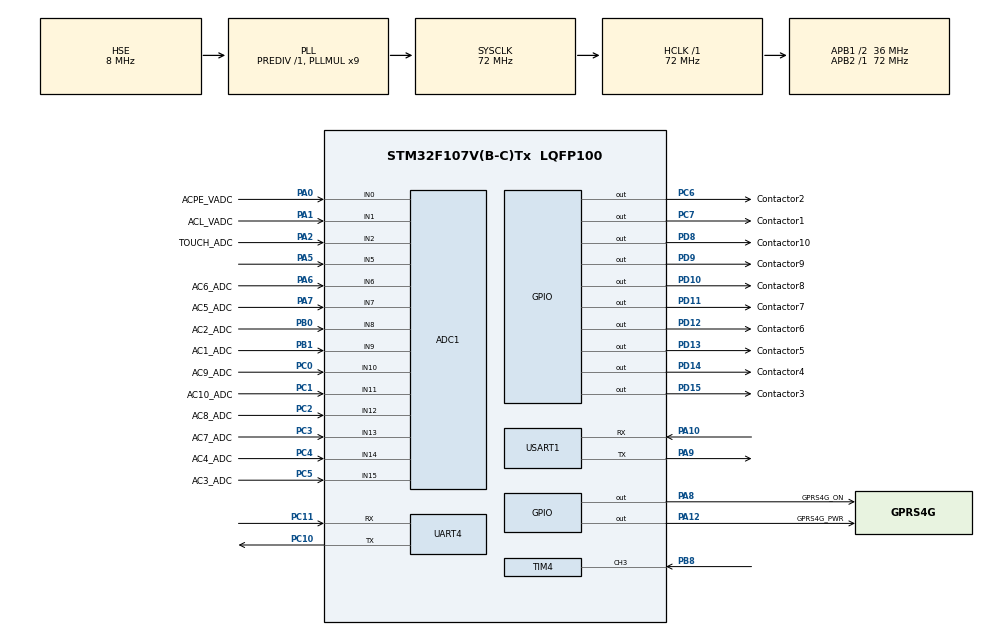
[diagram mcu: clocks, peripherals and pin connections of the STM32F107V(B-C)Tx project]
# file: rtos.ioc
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ADC1.Channel-0\#ChannelRegularConversion=ADC_CHANNEL_0
ADC1.Channel-1\#ChannelRegularConversion=ADC_CHANNEL_1
ADC1.Channel-10\#ChannelRegularConversion=ADC_CHANNEL_13
ADC1.Channel-11\#ChannelRegularConversion=ADC_CHANNEL_14
ADC1.Channel-12\#ChannelRegularConversion=ADC_CHANNEL_15
ADC1.Channel-15\#ChannelRegularConversion=ADC_CHANNEL_5
ADC1.Channel-2\#ChannelRegularConversion=ADC_CHANNEL_2
ADC1.Channel-3\#ChannelRegularConversion=ADC_CHANNEL_6
ADC1.Channel-4\#ChannelRegularConversion=ADC_CHANNEL_7
ADC1.Channel-5\#ChannelRegularConversion=ADC_CHANNEL_8
ADC1.Channel-6\#ChannelRegularConversion=ADC_CHANNEL_9
ADC1.Channel-7\#ChannelRegularConversion=ADC_CHANNEL_10
ADC1.Channel-8\#ChannelRegularConversion=ADC_CHANNEL_11
ADC1.Channel-9\#ChannelRegularConversion=ADC_CHANNEL_12
ADC1.ContinuousConvMode=ENABLE
ADC1.DataAlign=ADC_DATAALIGN_RIGHT
ADC1.DiscontinuousConvMode=DISABLE
ADC1.EnableAnalogWatchDog=false
ADC1.EnableRegularConversion=ENABLE
ADC1.ExternalTrigConv=ADC_EXTERNALTRIGCONV_T1_CC1
ADC1.InjNumberOfConversion=0
ADC1.NbrOfConversion=14
ADC1.NbrOfConversionFlag=1
ADC1.Rank-0\#ChannelRegularConversion=1
ADC1.Rank-1\#ChannelRegularConversion=2
ADC1.Rank-10\#ChannelRegularConversion=11
ADC1.Rank-11\#ChannelRegularConversion=12
ADC1.Rank-12\#ChannelRegularConversion=13
ADC1.Rank-15\#ChannelRegularConversion=14
ADC1.Rank-2\#ChannelRegularConversion=3
ADC1.Rank-3\#ChannelRegularConversion=4
ADC1.Rank-4\#ChannelRegularConversion=5
ADC1.Rank-5\#ChannelRegularConversion=6
ADC1.Rank-6\#ChannelRegularConversion=7
ADC1.Rank-7\#ChannelRegularConversion=8
ADC1.Rank-8\#ChannelRegularConversion=9
ADC1.Rank-9\#ChannelRegularConversion=10
ADC1.SamplingTime-0\#ChannelRegularConversion=ADC_SAMPLETIME_1CYCLE_5
ADC1.SamplingTime-1\#ChannelRegularConversion=ADC_SAMPLETIME_1CYCLE_5
ADC1.SamplingTime-10\#ChannelRegularConversion=ADC_SAMPLETIME_1CYCLE_5
ADC1.SamplingTime-11\#ChannelRegularConversion=ADC_SAMPLETIME_1CYCLE_5
ADC1.SamplingTime-12\#ChannelRegularConversion=ADC_SAMPLETIME_1CYCLE_5
ADC1.SamplingTime-15\#ChannelRegularConversion=ADC_SAMPLETIME_1CYCLE_5
ADC1.SamplingTime-2\#ChannelRegularConversion=ADC_SAMPLETIME_1CYCLE_5
ADC1.SamplingTime-3\#ChannelRegularConversion=ADC_SAMPLETIME_1CYCLE_5
ADC1.SamplingTime-4\#ChannelRegularConversion=ADC_SAMPLETIME_1CYCLE_5
ADC1.SamplingTime-5\#ChannelRegularConversion=ADC_SAMPLETIME_1CYCLE_5
ADC1.SamplingTime-6\#ChannelRegularConversion=ADC_SAMPLETIME_1CYCLE_5
ADC1.SamplingTime-7\#ChannelRegularConversion=ADC_SAMPLETIME_1CYCLE_5
ADC1.SamplingTime-8\#ChannelRegularConversion=ADC_SAMPLETIME_1CYCLE_5
ADC1.SamplingTime-9\#ChannelRegularConversion=ADC_SAMPLETIME_1CYCLE_5
ADC1.ScanConvMode=ADC_SCAN_ENABLE
ADC1.master=1
Dma.ADC1.0.Direction=DMA_PERIPH_TO_MEMORY
Dma.ADC1.0.Instance=DMA1_Channel1
Dma.ADC1.0.MemDataAlignment=DMA_MDATAALIGN_HALFWORD
Dma.ADC1.0.MemInc=DMA_MINC_ENABLE
Dma.ADC1.0.Mode=DMA_CIRCULAR
Dma.ADC1.0.PeriphDataAlignment=DMA_PDATAALIGN_HALFWORD
Dma.ADC1.0.PeriphInc=DMA_PINC_DISABLE
Dma.ADC1.0.Priority=DMA_PRIORITY_LOW
Dma.Request0=ADC1
FREERTOS.Tasks01=defaultTask,0,128,StartDefaultTask,Default,NULL
Mcu.Family=STM32F1
Mcu.Name=STM32F107V(B-C)Tx
Mcu.Package=LQFP100
Mcu.UserConstants=ADC_NUMBER,14
NVIC.DMA1_Channel1_IRQn=true\:5\:0\:false\:false\:true\:true\:false
NVIC.PriorityGroup=NVIC_PRIORITYGROUP_4
NVIC.TIM1_CC_IRQn=true\:0\:0\:true\:false\:true\:false\:true
NVIC.TIM4_IRQn=true\:5\:0\:false\:false\:true\:true\:true
NVIC.UART4_IRQn=true\:15\:0\:true\:false\:true\:true\:true
NVIC.USART1_IRQn=true\:5\:0\:true\:false\:true\:true\:true
OSC_IN.Mode=HSE-External-Oscillator
OSC_IN.Signal=RCC_OSC_IN
OSC_OUT.Mode=HSE-External-Oscillator
OSC_OUT.Signal=RCC_OSC_OUT
PA0-WKUP.GPIO_Label=ACPE_VADC
PA0-WKUP.Signal=ADCx_IN0
PA1.GPIO_Label=ACL_VADC
PA1.Signal=ADCx_IN1
PA10.Mode=Asynchronous
PA10.Signal=USART1_RX
PA12.GPIO_Label=GPRS4G_PWR
PA12.Signal=GPIO_Output
PA13.Mode=JTAG_4_pins
PA13.Signal=SYS_JTMS-SWDIO
PA14.Mode=JTAG_4_pins
PA14.Signal=SYS_JTCK-SWCLK
PA15.Mode=JTAG_4_pins
PA15.Signal=SYS_JTDI
PA2.GPIO_Label=TOUCH_ADC
PA2.Signal=ADCx_IN2
PA5.Signal=ADCx_IN5
PA6.GPIO_Label=AC6_ADC
PA6.Signal=ADCx_IN6
PA7.GPIO_Label=AC5_ADC
PA7.Signal=ADCx_IN7
PA8.GPIO_Label=GPRS4G_ON
PA8.PinState=GPIO_PIN_SET
PA8.Signal=GPIO_Output
PA9.Mode=Asynchronous
PA9.Signal=USART1_TX
PB0.GPIO_Label=AC2_ADC
PB0.Signal=ADCx_IN8
PB1.GPIO_Label=AC1_ADC
PB1.Signal=ADCx_IN9
PB3.Mode=JTAG_4_pins
PB3.Signal=SYS_JTDO
PB8.Signal=S_TIM4_CH3
PC0.GPIO_Label=AC9_ADC
PC0.Signal=ADCx_IN10
PC1.GPIO_Label=AC10_ADC
PC1.Signal=ADCx_IN11
PC10.GPIO_Mode=GPIO_MODE_AF_PP
PC10.GPIO_Speed=GPIO_SPEED_FREQ_HIGH
PC10.Mode=Asynchronous
PC10.Signal=UART4_TX
PC11.GPIO_Mode=GPIO_MODE_INPUT
PC11.GPIO_PuPd=GPIO_NOPULL
PC11.Mode=Asynchronous
PC11.Signal=UART4_RX
PC14-OSC32_IN.Mode=LSE-External-Oscillator
PC14-OSC32_IN.Signal=RCC_OSC32_IN
PC15-OSC32_OUT.Mode=LSE-External-Oscillator
PC15-OSC32_OUT.Signal=RCC_OSC32_OUT
PC2.GPIO_Label=AC8_ADC
PC2.Signal=ADCx_IN12
PC3.GPIO_Label=AC7_ADC
PC3.Signal=ADCx_IN13
PC4.GPIO_Label=AC4_ADC
PC4.Signal=ADCx_IN14
PC5.GPIO_Label=AC3_ADC
PC5.Signal=ADCx_IN15
PC6.GPIO_Label=Contactor2
PC6.Signal=GPIO_Output
PC7.GPIO_Label=Contactor1
PC7.Signal=GPIO_Output
PD10.GPIO_Label=Contactor8
PD10.Signal=GPIO_Output
PD11.GPIO_Label=Contactor7
PD11.Signal=GPIO_Output
PD12.GPIO_Label=Contactor6
PD12.Signal=GPIO_Output
PD13.GPIO_Label=Contactor5
PD13.Signal=GPIO_Output
PD14.GPIO_Label=Contactor4
PD14.Signal=GPIO_Output
PD15.GPIO_Label=Contactor3
PD15.Signal=GPIO_Output
PD8.GPIO_Label=Contactor10
PD8.Signal=GPIO_Output
PD9.GPIO_Label=Contactor9
PD9.Signal=GPIO_Output
ProjectManager.HeapSize=0x200
ProjectManager.StackSize=0x400
ProjectManager.TargetToolchain=MDK-ARM V5
RCC.ADCPresc=RCC_ADCPCLK2_DIV6
RCC.AHBFreq_Value=72000000
RCC.APB1CLKDivider=RCC_HCLK_DIV2
RCC.APB1Freq_Value=36000000
RCC.APB1TimFreq_Value=72000000
RCC.APB2Freq_Value=72000000
RCC.APB2TimFreq_Value=72000000
RCC.HCLKFreq_Value=72000000
RCC.PLLMUL=RCC_PLL_MUL9
RCC.PLLSourceVirtual=RCC_PLLSOURCE_HSE
RCC.RTCClockSelection=RCC_RTCCLKSOURCE_LSE
RCC.SYSCLKFreq_VALUE=72000000
RCC.SYSCLKSource=RCC_SYSCLKSOURCE_PLLCLK
RCC.USBFreq_Value=48000000
SH.ADCx_IN0.0=ADC1_IN0,IN0
SH.ADCx_IN1.0=ADC1_IN1,IN1
SH.ADCx_IN10.0=ADC1_IN10,IN10
SH.ADCx_IN11.0=ADC1_IN11,IN11
SH.ADCx_IN12.0=ADC1_IN12,IN12
SH.ADCx_IN13.0=ADC1_IN13,IN13
SH.ADCx_IN14.0=ADC1_IN14,IN14
SH.ADCx_IN15.0=ADC1_IN15,IN15
SH.ADCx_IN2.0=ADC1_IN2,IN2
SH.ADCx_IN5.0=ADC1_IN5,IN5
SH.ADCx_IN6.0=ADC1_IN6,IN6
SH.ADCx_IN7.0=ADC1_IN7,IN7
SH.ADCx_IN8.0=ADC1_IN8,IN8
SH.ADCx_IN9.0=ADC1_IN9,IN9
SH.S_TIM4_CH3.0=TIM4_CH3,Input_Capture3_from_TI3
TIM1.AutoReloadPreload=TIM_AUTORELOAD_PRELOAD_ENABLE
TIM1.Channel-PWM\ Generation1\ No\ Output=TIM_CHANNEL_1
TIM1.Period=500
TIM1.Prescaler=7
TIM1.Pulse-PWM\ Generation1\ No\ Output=250
TIM1.TIM_MasterOutputTrigger=TIM_TRGO_RESET
TIM4.AutoReloadPreload=TIM_AUTORELOAD_PRELOAD_ENABLE
TIM4.Channel-Input_Capture3_from_TI3=TIM_CHANNEL_3
TIM4.ICPolarity_CH3=TIM_INPUTCHANNELPOLARITY_FALLING
TIM4.Period=0xffff
TIM4.Prescaler=71
TIM4.TIM_MasterOutputTrigger=TIM_TRGO_RESET
TIM4.TIM_MasterSlaveMode=TIM_MASTERSLAVEMODE_DISABLE
UART4.VirtualMode=Asynchronous
USART1.VirtualMode=VM_ASYNC
VP_FREERTOS_VS_ENABLE.Mode=Enabled
VP_RTC_VS_RTC_Activate.Mode=RTC_Enabled
VP_TIM1_VS_ClockSourceINT.Mode=Internal
VP_TIM1_VS_no_output1.Mode=PWM Generation1 No Output
VP_TIM4_VS_ClockSourceINT.Mode=Internal
board=custom

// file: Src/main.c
/**
  ******************************************************************************
  * @file           : main.c
  * @brief          : Main program body
  ******************************************************************************
  * This notice applies to any and all portions of this file
  * that are not between comment pairs USER CODE BEGIN and
  * USER CODE END. Other portions of this file, whether
  * inserted by the user or by software development tools
  * are owned by their respective copyright owners.
  *
  * Copyright (c) 2018 STMicroelectronics International N.V.
  * All rights reserved.
  *
  * Redistribution and use in source and binary forms, with or without
  * modification, are permitted, provided that the following conditions are met:
  *
  * 1. Redistribution of source code must retain the above copyright notice,
  *    this list of conditions and the following disclaimer.
  * 2. Redistributions in binary form must reproduce the above copyright notice,
  *    this list of conditions and the following disclaimer in the documentation
  *    and/or other materials provided with the distribution.
  * 3. Neither the name of STMicroelectronics nor the names of other
  *    contributors to this software may be used to endorse or promote products
  *    derived from this software without specific written permission.
  * 4. This software, including modifications and/or derivative works of this
  *    software, must execute solely and exclusively on microcontroller or
  *    microprocessor devices manufactured by or for STMicroelectronics.
  * 5. Redistribution and use of this software other than as permitted under
  *    this license is void and will automatically terminate your rights under
  *    this license.
  *
  * THIS SOFTWARE IS PROVIDED BY STMICROELECTRONICS AND CONTRIBUTORS "AS IS"
  * AND ANY EXPRESS, IMPLIED OR STATUTORY WARRANTIES, INCLUDING, BUT NOT
  * LIMITED TO, THE IMPLIED WARRANTIES OF MERCHANTABILITY, FITNESS FOR A
  * PARTICULAR PURPOSE AND NON-INFRINGEMENT OF THIRD PARTY INTELLECTUAL PROPERTY
  * RIGHTS ARE DISCLAIMED TO THE FULLEST EXTENT PERMITTED BY LAW. IN NO EVENT
  * SHALL STMICROELECTRONICS OR CONTRIBUTORS BE LIABLE FOR ANY DIRECT, INDIRECT,
  * INCIDENTAL, SPECIAL, EXEMPLARY, OR CONSEQUENTIAL DAMAGES (INCLUDING, BUT NOT
  * LIMITED TO, PROCUREMENT OF SUBSTITUTE GOODS OR SERVICES; LOSS OF USE, DATA,
  * OR PROFITS; OR BUSINESS INTERRUPTION) HOWEVER CAUSED AND ON ANY THEORY OF
  * LIABILITY, WHETHER IN CONTRACT, STRICT LIABILITY, OR TORT (INCLUDING
  * NEGLIGENCE OR OTHERWISE) ARISING IN ANY WAY OUT OF THE USE OF THIS SOFTWARE,
  * EVEN IF ADVISED OF THE POSSIBILITY OF SUCH DAMAGE.
  *
  ******************************************************************************
  */
#include "main.h"
#include "stm32f1xx_hal.h"
#include "cmsis_os.h"
#include "adc.h"
#include "dma.h"
#include "rtc.h"
#include "tim.h"
#include "usart.h"
#include "gpio.h"

/* USER CODE BEGIN Includes */
#include "debug.h"
#include "stdint.h"
#include "gprs.h"
/* USER CODE END Includes */

/* USER CODE BEGIN PV */
/* Private variables ---------------------------------------------------------*/
static osThreadId defThreadId = NULL;
static osTimerId defTimerId = NULL;
static osMutexId defMutexId = NULL;
static osPoolId defPoolId = NULL;
static osMessageQId defMessageQId = NULL;
extern UART_HandleTypeDef huart4;
/* USER CODE END PV */

void SystemClock_Config(void);
void MX_FREERTOS_Init(void);

/* USER CODE BEGIN PFP */
/* Private function prototypes -----------------------------------------------*/
uint8_t tx_msg[512];

static void defTimerProc(void const *argument)
{
	static uint32_t i = 0;
	osStatus status;
	uint32_t *p = NULL;
	i ++;
	p = (uint32_t *)osPoolAlloc(defPoolId);
	if(p){
		*p = i;
		status = osMessagePut(defMessageQId, (uint32_t)p, 100);
		if(status == osOK){
			//sprintf(tx_msg, "put message %x\t%u\t%u\r\n", p, *p, osKernelSysTick());

			//RTT_LOG(APP_DEBUG"put message %x\t%u\t%u\r\n", p, *p, osKernelSysTick());
		}else{
			osPoolFree(defPoolId, p);
		}

	}else{
		//RTT_LOG(APP_DEBUG"alloc memory failed\r\n");
	}
}

 struct {
	uint8_t sw_no;
	uint8_t status;
 }rsw;
 static void relay_check()
{
	 if(rsw.sw_no){
		 switch(rsw.sw_no)
		 {
	 		case 1:
				HAL_GPIO_WritePin(Contactor1_GPIO_Port, Contactor1_Pin, rsw.status);
				break;
			case 2:
				HAL_GPIO_WritePin(Contactor2_GPIO_Port, Contactor2_Pin, rsw.status);
				break;
			case 3:
				HAL_GPIO_WritePin(Contactor3_GPIO_Port, Contactor3_Pin, rsw.status);
				break;

			 case 4:
			 	HAL_GPIO_WritePin(Contactor4_GPIO_Port, Contactor4_Pin, rsw.status);
				 break;
			 case 5:
			 	HAL_GPIO_WritePin(Contactor5_GPIO_Port, Contactor5_Pin, rsw.status);
				 break;
			 case 6:
			 	HAL_GPIO_WritePin(Contactor6_GPIO_Port, Contactor6_Pin, rsw.status);
				 break;

			 case 7:
			 	HAL_GPIO_WritePin(Contactor7_GPIO_Port, Contactor7_Pin, rsw.status);
				 break;
			 case 8:
			 	HAL_GPIO_WritePin(Contactor8_GPIO_Port, Contactor8_Pin, rsw.status);
				 break;
			 case 9:
			 	HAL_GPIO_WritePin(Contactor9_GPIO_Port, Contactor9_Pin, rsw.status);
				 break;
			case 10:
				HAL_GPIO_WritePin(Contactor10_GPIO_Port, Contactor10_Pin, rsw.status);
				break;
		 }

		 rsw.status = 0;
		 rsw.sw_no = 0;
	 }
 }
extern uint16_t mem[28];
static void defTaskThread(void const *argument)
{
	static uint32_t waitMS = 30;
	uint16_t len;
	uint32_t waitingCount = 0;
	osEvent event;
	uint8_t srv1_ip[4] = {116, 85, 12, 46};
	uint8_t srv2_ip[4] = {116, 85, 12, 46};
	//uint8_t srv2_ip[4] = {172, 18, 252, 187};
	osTimerDef(defTimer, defTimerProc);
	osMutexDef(defMutex);
	osPoolDef(defPool, 10, sizeof(uint32_t));
	osMessageQDef(defMessageQ, 10, sizeof(uint32_t));
	M26_init(&huart1);
	osDelay(1000);

	HAL_TIM_Base_Start(&htim1);
	osDelay(1000);
	HAL_TIM_IC_Start_IT(&htim4, TIM_CHANNEL_3);
	HAL_ADC_Start(&hadc1);
	HAL_ADC_Start_DMA(&hadc1, (uint32_t *)mem, 14);

	M26_reset();
	M26_socket(0, TCP, 0, 0);
	M26_connect(0, srv1_ip, 6789);
	M26_socket(1, TCP, 0, 0);
	M26_connect(1, srv2_ip, 6789);
	osDelay(1000);

  defTimerId = osTimerCreate(osTimer(defTimer), osTimerPeriodic, NULL);
	defMutexId = osMutexCreate(osMutex(defMutex));
	defPoolId = osPoolCreate(osPool(defPool));
	defMessageQId = osMessageCreate(osMessageQ(defMessageQ), NULL);
	osTimerStart(defTimerId, 2000);
	for(;;){
		relay_check();

		event = osMessageGet(defMessageQId, 0xffff);
		waitingCount = osMessageWaiting(defMessageQId);
		if(event.status == osEventMessage){
			osPoolFree(defPoolId, event.value.p);
			sprintf(tx_msg, "%s", "i am sn0\r\n");
			M26_send(0, tx_msg, strlen(tx_msg));
			osDelay(50);
			sprintf(tx_msg, "%s", "i am sn1\r\n");
			M26_send(1, tx_msg, strlen(tx_msg));
			osDelay(50);
			if((len = M26_recv(0, tx_msg, 512)) > 0){
				RTT_LOG(APP_WARNING"sn0 %s", tx_msg);
			}
			osDelay(50);
			if((len = M26_recv(1, tx_msg, 512)) > 0){
				RTT_LOG(APP_NOTICE"sn1 %s", tx_msg);
			}
			//RTT_LOG(APP_INFO"get message %x\t%u waiting:%u\r\n", event.value.p, *(uint32_t *)event.value.p, waitingCount);
			if(waitingCount == 5){
				osDelay(100);
				//M26_ioctl(IO_GET_CSQ, NULL);
				M26_ioctl(IO_GET_STATUS, NULL);
			}
			if(waitingCount > 5){
				waitMS = 1000;
			}else{
				waitMS = 5000;
			}
		}
		osDelay(waitMS);
		osThreadYield();
	}
}

/* USER CODE END PFP */

int main(void)
{

  /* MCU Configuration----------------------------------------------------------*/

  /* Reset of all peripherals, Initializes the Flash interface and the Systick. */
  HAL_Init();

  /* Configure the system clock */
  SystemClock_Config();

  /* USER CODE BEGIN SysInit */
#ifdef RTT_DEBUG
	SEGGER_RTT_Init();
#endif
  /* USER CODE END SysInit */

  /* Initialize all configured peripherals */
  MX_GPIO_Init();
  MX_DMA_Init();
  MX_RTC_Init();
  MX_UART4_Init();
  MX_USART1_UART_Init();
  MX_ADC1_Init();
  MX_TIM1_Init();
  MX_TIM4_Init();
  /* USER CODE BEGIN 2 */
	RTT_LOG(APP_DEBUG"start\r\n");
  osThreadDef(defTask, defTaskThread, 0, 0, 128);
  defThreadId = osThreadCreate(osThread(defTask), NULL);

  /* USER CODE END 2 */

  /* Call init function for freertos objects (in freertos.c) */
  MX_FREERTOS_Init();

  /* Start scheduler */
  osKernelStart();

  /* We should never get here as control is now taken by the scheduler */

  /* Infinite loop */
  while (1)
  {

  }

}

void SystemClock_Config(void)
{

  RCC_OscInitTypeDef RCC_OscInitStruct;
  RCC_ClkInitTypeDef RCC_ClkInitStruct;
  RCC_PeriphCLKInitTypeDef PeriphClkInit;

    /**Initializes the CPU, AHB and APB busses clocks
    */
  RCC_OscInitStruct.OscillatorType = RCC_OSCILLATORTYPE_HSE|RCC_OSCILLATORTYPE_LSE;
  RCC_OscInitStruct.HSEState = RCC_HSE_ON;
  RCC_OscInitStruct.HSEPredivValue = RCC_HSE_PREDIV_DIV1;
  RCC_OscInitStruct.LSEState = RCC_LSE_ON;
  RCC_OscInitStruct.HSIState = RCC_HSI_ON;
  RCC_OscInitStruct.Prediv1Source = RCC_PREDIV1_SOURCE_HSE;
  RCC_OscInitStruct.PLL.PLLState = RCC_PLL_ON;
  RCC_OscInitStruct.PLL.PLLSource = RCC_PLLSOURCE_HSE;
  RCC_OscInitStruct.PLL.PLLMUL = RCC_PLL_MUL9;
  RCC_OscInitStruct.PLL2.PLL2State = RCC_PLL_NONE;
  if (HAL_RCC_OscConfig(&RCC_OscInitStruct) != HAL_OK)
  {
    _Error_Handler(__FILE__, __LINE__);
  }

    /**Initializes the CPU, AHB and APB busses clocks
    */
  RCC_ClkInitStruct.ClockType = RCC_CLOCKTYPE_HCLK|RCC_CLOCKTYPE_SYSCLK
                              |RCC_CLOCKTYPE_PCLK1|RCC_CLOCKTYPE_PCLK2;
  RCC_ClkInitStruct.SYSCLKSource = RCC_SYSCLKSOURCE_PLLCLK;
  RCC_ClkInitStruct.AHBCLKDivider = RCC_SYSCLK_DIV1;
  RCC_ClkInitStruct.APB1CLKDivider = RCC_HCLK_DIV2;
  RCC_ClkInitStruct.APB2CLKDivider = RCC_HCLK_DIV1;

  if (HAL_RCC_ClockConfig(&RCC_ClkInitStruct, FLASH_LATENCY_2) != HAL_OK)
  {
    _Error_Handler(__FILE__, __LINE__);
  }

  PeriphClkInit.PeriphClockSelection = RCC_PERIPHCLK_RTC|RCC_PERIPHCLK_ADC;
  PeriphClkInit.RTCClockSelection = RCC_RTCCLKSOURCE_LSE;
  PeriphClkInit.AdcClockSelection = RCC_ADCPCLK2_DIV6;
  if (HAL_RCCEx_PeriphCLKConfig(&PeriphClkInit) != HAL_OK)
  {
    _Error_Handler(__FILE__, __LINE__);
  }

    /**Configure the Systick interrupt time
    */
  HAL_SYSTICK_Config(HAL_RCC_GetHCLKFreq()/1000);

    /**Configure the Systick
    */
  HAL_SYSTICK_CLKSourceConfig(SYSTICK_CLKSOURCE_HCLK);

    /**Configure the Systick interrupt time
    */
  __HAL_RCC_PLLI2S_ENABLE();

  /* SysTick_IRQn interrupt configuration */
  HAL_NVIC_SetPriority(SysTick_IRQn, 15, 0);
}

void _Error_Handler(char *file, int line)
{
  while(1)
  {
  }
}

/************************ (C) COPYRIGHT STMicroelectronics *****END OF FILE****/

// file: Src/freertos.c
/**
  ******************************************************************************
  * File Name          : freertos.c
  * Description        : Code for freertos applications
  ******************************************************************************
  * This notice applies to any and all portions of this file
  * that are not between comment pairs USER CODE BEGIN and
  * USER CODE END. Other portions of this file, whether
  * inserted by the user or by software development tools
  * are owned by their respective copyright owners.
  *
  * Copyright (c) 2018 STMicroelectronics International N.V.
  * All rights reserved.
  *
  * Redistribution and use in source and binary forms, with or without
  * modification, are permitted, provided that the following conditions are met:
  *
  * 1. Redistribution of source code must retain the above copyright notice,
  *    this list of conditions and the following disclaimer.
  * 2. Redistributions in binary form must reproduce the above copyright notice,
  *    this list of conditions and the following disclaimer in the documentation
  *    and/or other materials provided with the distribution.
  * 3. Neither the name of STMicroelectronics nor the names of other
  *    contributors to this software may be used to endorse or promote products
  *    derived from this software without specific written permission.
  * 4. This software, including modifications and/or derivative works of this
  *    software, must execute solely and exclusively on microcontroller or
  *    microprocessor devices manufactured by or for STMicroelectronics.
  * 5. Redistribution and use of this software other than as permitted under
  *    this license is void and will automatically terminate your rights under
  *    this license.
  *
  * THIS SOFTWARE IS PROVIDED BY STMICROELECTRONICS AND CONTRIBUTORS "AS IS"
  * AND ANY EXPRESS, IMPLIED OR STATUTORY WARRANTIES, INCLUDING, BUT NOT
  * LIMITED TO, THE IMPLIED WARRANTIES OF MERCHANTABILITY, FITNESS FOR A
  * PARTICULAR PURPOSE AND NON-INFRINGEMENT OF THIRD PARTY INTELLECTUAL PROPERTY
  * RIGHTS ARE DISCLAIMED TO THE FULLEST EXTENT PERMITTED BY LAW. IN NO EVENT
  * SHALL STMICROELECTRONICS OR CONTRIBUTORS BE LIABLE FOR ANY DIRECT, INDIRECT,
  * INCIDENTAL, SPECIAL, EXEMPLARY, OR CONSEQUENTIAL DAMAGES (INCLUDING, BUT NOT
  * LIMITED TO, PROCUREMENT OF SUBSTITUTE GOODS OR SERVICES; LOSS OF USE, DATA,
  * OR PROFITS; OR BUSINESS INTERRUPTION) HOWEVER CAUSED AND ON ANY THEORY OF
  * LIABILITY, WHETHER IN CONTRACT, STRICT LIABILITY, OR TORT (INCLUDING
  * NEGLIGENCE OR OTHERWISE) ARISING IN ANY WAY OUT OF THE USE OF THIS SOFTWARE,
  * EVEN IF ADVISED OF THE POSSIBILITY OF SUCH DAMAGE.
  *
  ******************************************************************************
  */

#include "FreeRTOS.h"
#include "task.h"
#include "cmsis_os.h"

osThreadId defaultTaskHandle;

void StartDefaultTask(void const * argument);

void MX_FREERTOS_Init(void); /* (MISRA C 2004 rule 8.1) */

/* GetIdleTaskMemory prototype (linked to static allocation support) */
void vApplicationGetIdleTaskMemory( StaticTask_t **ppxIdleTaskTCBBuffer, StackType_t **ppxIdleTaskStackBuffer, uint32_t *pulIdleTaskStackSize );

/* GetTimerTaskMemory prototype (linked to static allocation support) */
void vApplicationGetTimerTaskMemory( StaticTask_t **ppxTimerTaskTCBBuffer, StackType_t **ppxTimerTaskStackBuffer, uint32_t *pulTimerTaskStackSize );

/* Hook prototypes */

/* USER CODE BEGIN GET_IDLE_TASK_MEMORY */
static StaticTask_t xIdleTaskTCBBuffer;
static StackType_t xIdleStack[configMINIMAL_STACK_SIZE];

void vApplicationGetIdleTaskMemory( StaticTask_t **ppxIdleTaskTCBBuffer, StackType_t **ppxIdleTaskStackBuffer, uint32_t *pulIdleTaskStackSize )
{
  *ppxIdleTaskTCBBuffer = &xIdleTaskTCBBuffer;
  *ppxIdleTaskStackBuffer = &xIdleStack[0];
  *pulIdleTaskStackSize = configMINIMAL_STACK_SIZE;
  /* place for user code */
}
/* USER CODE END GET_IDLE_TASK_MEMORY */

/* USER CODE BEGIN GET_TIMER_TASK_MEMORY */
static StaticTask_t xTimerTaskTCBBuffer;
static StackType_t xTimerStack[configTIMER_TASK_STACK_DEPTH];

void vApplicationGetTimerTaskMemory( StaticTask_t **ppxTimerTaskTCBBuffer, StackType_t **ppxTimerTaskStackBuffer, uint32_t *pulTimerTaskStackSize )
{
  *ppxTimerTaskTCBBuffer = &xTimerTaskTCBBuffer;
  *ppxTimerTaskStackBuffer = &xTimerStack[0];
  *pulTimerTaskStackSize = configTIMER_TASK_STACK_DEPTH;
  /* place for user code */
}
/* USER CODE END GET_TIMER_TASK_MEMORY */

/* Init FreeRTOS */

void MX_FREERTOS_Init(void) {

  /* Create the thread(s) */
  /* definition and creation of defaultTask */
  osThreadDef(defaultTask, StartDefaultTask, osPriorityNormal, 0, 128);
  defaultTaskHandle = osThreadCreate(osThread(defaultTask), NULL);

}

/* StartDefaultTask function */
void StartDefaultTask(void const * argument)
{

  for(;;)
  {
    osDelay(1);
  }
}

/************************ (C) COPYRIGHT STMicroelectronics *****END OF FILE****/
